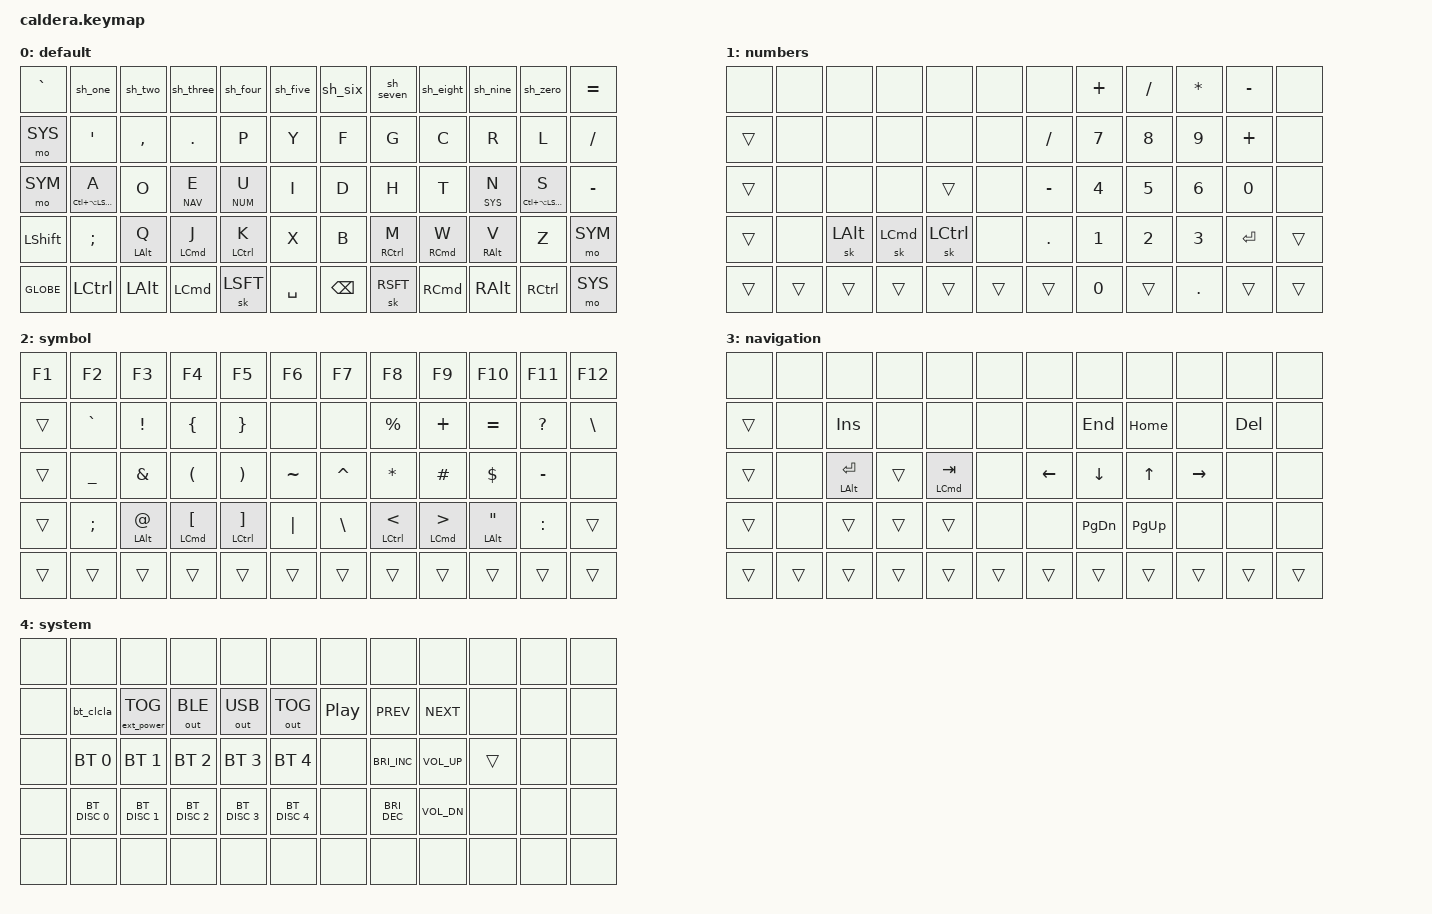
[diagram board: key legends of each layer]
/*
* Copyright (c) 2022 The ZMK Contributors
*
* SPDX-License-Identifier: MIT
*/

/*
* Solo - Provided by https://github.com/vladsolokha and adapted
*/

#include <behaviors.dtsi>
#include <dt-bindings/zmk/keys.h>
#include <dt-bindings/zmk/bt.h>
#include <dt-bindings/zmk/outputs.h>
#include <dt-bindings/zmk/ext_power.h>

#define BASE    0
#define NUM     1
#define SYM     2
#define NAV     3
#define SYS     4


&mt {
	flavor = "tap-preferred";
	tapping-term-ms = <300>;
	quick-tap-ms = <180>;
	require-prior-idle-ms = <100>;
};

&sk {
	release-after-ms = <800>;
	quick-release;
};

&caps_word {
	continue-list = <UNDERSCORE MINUS BSPC>;
};


/ {
	combos {
		compatible = "zmk,combos";

		/****************************************
		********** Left Hand Combos  ************
		*****************************************/

		combo_esc_l {
			timeout-ms = <40>;
			key-positions = <13 14>;
			bindings = <&kp ESC>;
		};

		combo_tab_l {
			timeout-ms = <40>;
			key-positions = <25 26>;
			bindings = <&kp TAB>;
		};

		combo_save {
			timeout-ms = <40>;
			key-positions = <27 28>;
			bindings = <&kp LC(S)>;
		};

		/****************************************
		********** Right Hand Combos  ***********
		****************************************/

		combo_backsp {
			timeout-ms = <40>;
			key-positions = <21 22>;
			bindings = <&kp BSPC>;
		};

		combo_return {
			timeout-ms = <40>;
			key-positions = <33 34>;
			bindings = <&kp RETURN>;
			layers = <0 1 2 3>;
		};

		combo_del {
			timeout-ms = <40>;
			key-positions = <9 10>;
			bindings = <&kp DEL>;
		};

		combo_tab_r {
			timeout-ms = <40>;
			key-positions = <44 45>;
			bindings = <&kp TAB>;
		};

		/****************************************
		 ********** Both Hand Combos  ***********
		 ****************************************/

		combo_caps_word {
			timeout-ms = <55>;
			key-positions = <28 31>;
			bindings = <&caps_word>;
		};

	};

	behaviors {
		mo_kp: momentary_hold_key_press_hold {
			compatible = "zmk,behavior-hold-tap";
			#binding-cells = <2>;
			flavor = "hold-preferred";
			tapping-term-ms = <180>;
			quick-tap-ms = <180>;
			bindings = <&mo>, <&kp>;
		};

		mo_kp_tap: momentary_hold_key_press_tap_prefer {
			compatible = "zmk,behavior-hold-tap";
			#binding-cells = <2>;
			flavor = "tap-preferred";
			tapping-term-ms = <220>;
			quick-tap-ms = <180>;
			require-prior-idle-ms = <100>;
			bindings = <&mo>, <&kp>;
		};

		sk_kp_tap: stiky_key_press_tap_prefer {
			compatible = "zmk,behavior-hold-tap";
			#binding-cells = <2>;
			flavor = "tap-preferred";
			tapping-term-ms = <220>;
			quick-tap-ms = <180>;
			require-prior-idle-ms = <100>;
			bindings = <&sk>, <&kp>;
		};

		bt_clcla: tap_dance_bt_control {
			compatible = "zmk,behavior-tap-dance";
			#binding-cells = <0>;
			tapping-term-ms = <300>;
			bindings = <&none>, <&bt BT_CLR>, <&bt BT_CLR_ALL>;
		};

		/****************************************
		 ********* Custom Shift Pairs ***********
		 ****************************************/

		sh_one: shift_pair_one_bang {
			compatible = "zmk,behavior-mod-morph";
			#binding-cells = <0>;
			bindings = <&kp EXCL>, <&kp NUM_1>;
			mods = <(MOD_LSFT|MOD_RSFT)>;
			keep-mods = <0>;
		};

		sh_two: shift_pair_two_at {
			compatible = "zmk,behavior-mod-morph";
			#binding-cells = <0>;
			bindings = <&kp AT>, <&kp NUM_2>;
			mods = <(MOD_LSFT|MOD_RSFT)>;
			keep-mods = <0>;
		};

		sh_three: shift_pair_three_hash {
			compatible = "zmk,behavior-mod-morph";
			#binding-cells = <0>;
			bindings = <&kp HASH>, <&kp NUM_3>;
			mods = <(MOD_LSFT|MOD_RSFT)>;
			keep-mods = <0>;
		};

		sh_four: shift_pair_four_dollar {
			compatible = "zmk,behavior-mod-morph";
			#binding-cells = <0>;
			bindings = <&kp DLLR>, <&kp NUM_4>;
			mods = <(MOD_LSFT|MOD_RSFT)>;
			keep-mods = <0>;
		};

		sh_five: shift_pair_five_percent {
			compatible = "zmk,behavior-mod-morph";
			#binding-cells = <0>;
			bindings = <&kp PRCNT>, <&kp NUM_5>;
			mods = <(MOD_LSFT|MOD_RSFT)>;
			keep-mods = <0>;
		};

		sh_six: shift_pair_six_caret {
			compatible = "zmk,behavior-mod-morph";
			#binding-cells = <0>;
			bindings = <&kp CARET>, <&kp NUM_6>;
			mods = <(MOD_LSFT|MOD_RSFT)>;
			keep-mods = <0>;
		};

		sh_seven: shift_pair_seven_ampersand {
			compatible = "zmk,behavior-mod-morph";
			#binding-cells = <0>;
			bindings = <&kp AMPS>, <&kp NUM_7>;
			mods = <(MOD_LSFT|MOD_RSFT)>;
			keep-mods = <0>;
		};

		sh_eight: shift_pair_eight_asterisk {
			compatible = "zmk,behavior-mod-morph";
			#binding-cells = <0>;
			bindings = <&kp ASTRK>, <&kp NUM_8>;
			mods = <(MOD_LSFT|MOD_RSFT)>;
			keep-mods = <0>;
		};

		sh_nine: shift_pair_nine_left_paren {
			compatible = "zmk,behavior-mod-morph";
			#binding-cells = <0>;
			bindings = <&kp LPAR>, <&kp NUM_9>;
			mods = <(MOD_LSFT|MOD_RSFT)>;
			keep-mods = <0>;
		};

		sh_zero: shift_pair_zero_right_paren {
			compatible = "zmk,behavior-mod-morph";
			#binding-cells = <0>;
			bindings = <&kp RPAR>, <&kp NUM_0>;
			mods = <(MOD_LSFT|MOD_RSFT)>;
			keep-mods = <0>;
		};

	};

	keymap {
		compatible = "zmk,keymap";

		/* 0 */
		default {
			bindings = <
			&kp GRAVE     &sh_one                 &sh_two       &sh_three           &sh_four            &sh_five     /**/     &sh_six     &sh_seven      &sh_eight     &sh_nine            &sh_zero                &kp EQUAL
			&mo SYS       &kp APOS                &kp COMMA     &kp DOT             &kp P               &kp Y        /**/     &kp F       &kp G          &kp C         &kp R               &kp L                   &kp SLASH
			&mo SYM       &mt LC(LA(LSHIFT)) A    &kp O         &mo_kp_tap NAV E    &mo_kp_tap NUM U    &kp I        /**/     &kp D       &kp H          &kp T         &mo_kp_tap SYS N    &mt LC(LA(LSHIFT)) S    &kp MINUS
			&kp LSHIFT    &kp SEMI                &mt LALT Q    &mt LCMD J          &mt LCTRL K         &kp X        /**/     &kp B       &mt RCTRL M    &mt RCMD W    &mt RALT V          &kp Z                   &mo SYM
			&kp GLOBE     &kp LCTRL               &kp LALT      &kp LCMD            &sk LSFT            &kp SPACE    /**/     &kp BSPC    &sk RSFT       &kp RCMD      &kp RALT            &kp RCTRL               &mo SYS
			>;
		};

		/* 1 */
		numbers {
			bindings = <
			&none     &none     &none       &none       &none        &none      /**/     &none        &kp PLUS     &kp SLASH    &kp STAR     &kp MINUS    &none
			&trans    &none     &none       &none       &none        &none      /**/     &kp SLASH    &kp NUM_7    &kp NUM_8    &kp NUM_9    &kp PLUS     &none
			&trans    &none     &none       &none       &trans       &none      /**/     &kp MINUS    &kp NUM_4    &kp NUM_5    &kp NUM_6    &kp NUM_0    &none
			&trans    &none     &sk LALT    &sk LCMD    &sk LCTRL    &none      /**/     &kp DOT      &kp NUM_1    &kp NUM_2    &kp NUM_3    &kp ENTER    &trans
			&trans    &trans    &trans      &trans      &trans       &trans     /**/     &trans       &kp NUM_0    &trans       &kp DOT      &trans       &trans
			>;
		};

		/* 2 */
		symbol {
			bindings = <
			&kp F1    &kp F2       &kp F3         &kp F4           &kp F5            &kp F6        /**/     &kp F7           &kp F8          &kp F9         &kp F10         &kp F11      &kp F12
			&trans    &kp GRAVE    &kp EXCL       &kp LBRC         &kp RBRC          &none         /**/     &none            &kp PERCENT     &kp PLUS       &kp EQUAL       &kp QMARK    &kp BACKSLASH
			&trans    &kp UNDER    &kp AMPS       &kp LPAR         &kp RPAR          &kp TILDE     /**/     &kp CARET        &kp STAR        &kp HASH       &kp DOLLAR      &kp MINUS    &none
			&trans    &kp SEMI     &mt LALT AT    &mt LCMD LBKT    &mt LCTRL RBKT    &kp PIPE      /**/     &kp BACKSLASH    &mt LCTRL LT    &mt LCMD GT    &mt LALT DQT    &kp COLON    &trans
			&trans    &trans       &trans         &trans           &trans            &trans        /**/     &trans           &trans          &trans         &trans          &trans       &trans
			>;
		};

		/* 3 */
		navigation {
			bindings = <
			&none     &none     &none              &none     &none           &none      /**/     &none       &none            &none          &none        &none    &none
			&trans    &none     &kp INSERT         &none     &none           &none      /**/     &none       &kp END          &kp HOME       &none        &kp DEL  &none
			&trans    &none     &mt LALT RETURN    &trans    &mt LCMD TAB    &none      /**/     &kp LEFT    &kp DOWN         &kp UP         &kp RIGHT    &none    &none
			&trans    &none     &trans             &trans    &trans          &none      /**/     &none       &kp PAGE_DOWN    &kp PAGE_UP    &none        &none    &none
			&trans    &trans    &trans             &trans    &trans          &trans     /**/     &trans      &trans           &trans         &trans       &trans   &trans
			>;
		};

		/* 4 */
		system {
			bindings = <
			&none    &none            &none                &none            &none           &none             /**/     &none       &none                   &none           &none     &none    &none
			&none    &bt_clcla        &ext_power EP_TOG    &out OUT_BLE     &out OUT_USB    &out OUT_TOG      /**/     &kp C_PP    &kp C_PREV              &kp C_NEXT      &none     &none    &none
			&none    &bt BT_SEL 0     &bt BT_SEL 1         &bt BT_SEL 2     &bt BT_SEL 3    &bt BT_SEL 4      /**/     &none       &kp C_BRIGHTNESS_INC    &kp C_VOL_UP    &trans    &none    &none
			&none    &bt BT_DISC 0    &bt BT_DISC 1        &bt BT_DISC 2    &bt BT_DISC 3   &bt BT_DISC 4     /**/     &none       &kp C_BRIGHTNESS_DEC    &kp C_VOL_DN    &none     &none    &none
			&none    &none            &none                &none            &none           &none             /**/     &none       &none                   &none           &none     &none    &none
			>;
		};
	};
};
